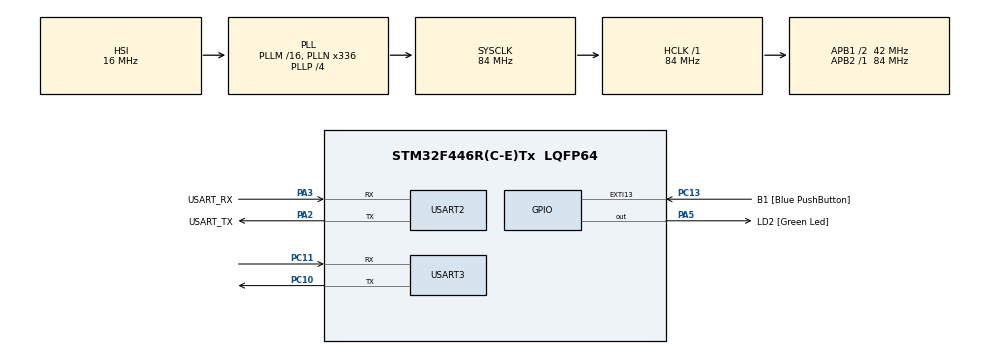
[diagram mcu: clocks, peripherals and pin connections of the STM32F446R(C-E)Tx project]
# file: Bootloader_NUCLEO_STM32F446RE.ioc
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Mcu.Family=STM32F4
Mcu.Name=STM32F446R(C-E)Tx
Mcu.Package=LQFP64
NVIC.PriorityGroup=NVIC_PRIORITYGROUP_0
PA13.GPIO_Label=TMS
PA13.Mode=Serial_Wire
PA13.Signal=SYS_JTMS-SWDIO
PA14.GPIO_Label=TCK
PA14.Mode=Serial_Wire
PA14.Signal=SYS_JTCK-SWCLK
PA2.GPIO_Label=USART_TX
PA2.Mode=Asynchronous
PA2.Signal=USART2_TX
PA3.GPIO_Label=USART_RX
PA3.Mode=Asynchronous
PA3.Signal=USART2_RX
PA5.GPIO_Label=LD2 [Green Led]
PA5.Signal=GPIO_Output
PB3.GPIO_Label=SWO
PB3.Signal=SYS_JTDO-SWO
PC10.Mode=Asynchronous
PC10.Signal=USART3_TX
PC11.Mode=Asynchronous
PC11.Signal=USART3_RX
PC13.GPIO_Label=B1 [Blue PushButton]
PC13.GPIO_ModeDefaultEXTI=GPIO_MODE_IT_FALLING
PC13.Signal=GPXTI13
PC14-OSC32_IN.Mode=LSE-External-Oscillator
PC14-OSC32_IN.Signal=RCC_OSC32_IN
PC15-OSC32_OUT.Mode=LSE-External-Oscillator
PC15-OSC32_OUT.Signal=RCC_OSC32_OUT
PH0-OSC_IN.Mode=HSE-External-Oscillator
PH0-OSC_IN.Signal=RCC_OSC_IN
PH1-OSC_OUT.Mode=HSE-External-Oscillator
PH1-OSC_OUT.Signal=RCC_OSC_OUT
ProjectManager.HeapSize=0x200
ProjectManager.StackSize=0x400
ProjectManager.TargetToolchain=MDK-ARM V5.32
RCC.48MHZClocksFreq_Value=84000000
RCC.AHBFreq_Value=84000000
RCC.APB1CLKDivider=RCC_HCLK_DIV2
RCC.APB1Freq_Value=42000000
RCC.APB1TimFreq_Value=84000000
RCC.APB2Freq_Value=84000000
RCC.APB2TimFreq_Value=84000000
RCC.CortexFreq_Value=84000000
RCC.FLatency-AdvancedSettings=FLASH_LATENCY_2
RCC.HCLKFreq_Value=84000000
RCC.HSE_VALUE=8000000
RCC.HSI_VALUE=16000000
RCC.PLLN=336
RCC.PLLP=RCC_PLLP_DIV4
RCC.SYSCLKFreq_VALUE=84000000
RCC.SYSCLKSource=RCC_SYSCLKSOURCE_PLLCLK
RCC.USBFreq_Value=168000000
RCC.VCOOutputFreq_Value=336000000
USART2.VirtualMode=VM_ASYNC
USART3.VirtualMode=VM_ASYNC
VP_CRC_VS_CRC.Mode=CRC_Activate
board=NUCLEO-F446RE

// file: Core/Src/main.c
/* USER CODE BEGIN Header */
/**
  ******************************************************************************
  * @file           : main.c
  * @brief          : Main program body
  ******************************************************************************
  * @attention
  *
  * Copyright (c) 2022 STMicroelectronics.
  * All rights reserved.
  *
  * This software is licensed under terms that can be found in the LICENSE file
  * in the root directory of this software component.
  * If no LICENSE file comes with this software, it is provided AS-IS.
  *
  ******************************************************************************
  */
/* USER CODE END Header */
#include <stdio.h>
#include <string.h>
#include <stdarg.h>
#include "main.h"

/* USER CODE BEGIN PTD */
 static void printmsg(char *format,...);
/* USER CODE END PTD */

/* USER CODE BEGIN PD */
#define BL_DEBUG_MSG_EN
/* USER CODE END PD */

/* USER CODE BEGIN PM */
#define D_UART   &huart3
#define C_UART   &huart2
/* USER CODE END PM */

CRC_HandleTypeDef hcrc;

UART_HandleTypeDef huart2;
UART_HandleTypeDef huart3;

void SystemClock_Config(void);
static void MX_GPIO_Init(void);
static void MX_USART2_UART_Init(void);
static void MX_USART3_UART_Init(void);
static void MX_CRC_Init(void);
/* USER CODE BEGIN PFP */
uint8_t supported_commands[] = {
		BL_GET_VER,
		BL_GET_HELP,
		BL_GET_CID,
		BL_GET_RDP_STATUS,
		BL_GO_TO_ADDR,
		BL_FLASH_ERASE,
		BL_MEM_WRITE,
		BL_READ_SECTOR_P_STATUS
};
/* USER CODE END PFP */

/* USER CODE BEGIN 0 */
#define BL_RX_LEN 200
uint8_t bl_rx_buffer[BL_RX_LEN];
/* USER CODE END 0 */

int main(void)
{

  /* MCU Configuration--------------------------------------------------------*/

  /* Reset of all peripherals, Initializes the Flash interface and the Systick. */
  HAL_Init();

  /* Configure the system clock */
  SystemClock_Config();

  /* Initialize all configured peripherals */
  MX_GPIO_Init();
  MX_USART2_UART_Init();
  MX_USART3_UART_Init();
  MX_CRC_Init();
  /* USER CODE BEGIN 2 */
	if(HAL_GPIO_ReadPin(B1_GPIO_Port,B1_Pin)==GPIO_PIN_RESET)
		bootloader_uart_read_data();
	else
		bootloader_jump_to_user_app();
  /* USER CODE END 2 */

  /* Infinite loop */
  /* USER CODE BEGIN WHILE */
  /* USER CODE END 3 */
}

void SystemClock_Config(void)
{
  RCC_OscInitTypeDef RCC_OscInitStruct = {0};
  RCC_ClkInitTypeDef RCC_ClkInitStruct = {0};

  /** Configure the main internal regulator output voltage
  */
  __HAL_RCC_PWR_CLK_ENABLE();
  __HAL_PWR_VOLTAGESCALING_CONFIG(PWR_REGULATOR_VOLTAGE_SCALE3);
  /** Initializes the RCC Oscillators according to the specified parameters
  * in the RCC_OscInitTypeDef structure.
  */
  RCC_OscInitStruct.OscillatorType = RCC_OSCILLATORTYPE_HSI;
  RCC_OscInitStruct.HSIState = RCC_HSI_ON;
  RCC_OscInitStruct.HSICalibrationValue = RCC_HSICALIBRATION_DEFAULT;
  RCC_OscInitStruct.PLL.PLLState = RCC_PLL_ON;
  RCC_OscInitStruct.PLL.PLLSource = RCC_PLLSOURCE_HSI;
  RCC_OscInitStruct.PLL.PLLM = 16;
  RCC_OscInitStruct.PLL.PLLN = 336;
  RCC_OscInitStruct.PLL.PLLP = RCC_PLLP_DIV4;
  RCC_OscInitStruct.PLL.PLLQ = 2;
  RCC_OscInitStruct.PLL.PLLR = 2;
  if (HAL_RCC_OscConfig(&RCC_OscInitStruct) != HAL_OK)
  {
    Error_Handler();
  }
  /** Initializes the CPU, AHB and APB buses clocks
  */
  RCC_ClkInitStruct.ClockType = RCC_CLOCKTYPE_HCLK|RCC_CLOCKTYPE_SYSCLK
                              |RCC_CLOCKTYPE_PCLK1|RCC_CLOCKTYPE_PCLK2;
  RCC_ClkInitStruct.SYSCLKSource = RCC_SYSCLKSOURCE_PLLCLK;
  RCC_ClkInitStruct.AHBCLKDivider = RCC_SYSCLK_DIV1;
  RCC_ClkInitStruct.APB1CLKDivider = RCC_HCLK_DIV2;
  RCC_ClkInitStruct.APB2CLKDivider = RCC_HCLK_DIV1;

  if (HAL_RCC_ClockConfig(&RCC_ClkInitStruct, FLASH_LATENCY_2) != HAL_OK)
  {
    Error_Handler();
  }
}

static void MX_CRC_Init(void)
{

  hcrc.Instance = CRC;
  if (HAL_CRC_Init(&hcrc) != HAL_OK)
  {
    Error_Handler();
  }

}

static void MX_USART2_UART_Init(void)
{

  huart2.Instance = USART2;
  huart2.Init.BaudRate = 115200;
  huart2.Init.WordLength = UART_WORDLENGTH_8B;
  huart2.Init.StopBits = UART_STOPBITS_1;
  huart2.Init.Parity = UART_PARITY_NONE;
  huart2.Init.Mode = UART_MODE_TX_RX;
  huart2.Init.HwFlowCtl = UART_HWCONTROL_NONE;
  huart2.Init.OverSampling = UART_OVERSAMPLING_16;
  if (HAL_UART_Init(&huart2) != HAL_OK)
  {
    Error_Handler();
  }

}

static void MX_USART3_UART_Init(void)
{

  huart3.Instance = USART3;
  huart3.Init.BaudRate = 115200;
  huart3.Init.WordLength = UART_WORDLENGTH_8B;
  huart3.Init.StopBits = UART_STOPBITS_1;
  huart3.Init.Parity = UART_PARITY_NONE;
  huart3.Init.Mode = UART_MODE_TX_RX;
  huart3.Init.HwFlowCtl = UART_HWCONTROL_NONE;
  huart3.Init.OverSampling = UART_OVERSAMPLING_16;
  if (HAL_UART_Init(&huart3) != HAL_OK)
  {
    Error_Handler();
  }

}

static void MX_GPIO_Init(void)
{
  GPIO_InitTypeDef GPIO_InitStruct = {0};

  /* GPIO Ports Clock Enable */
  __HAL_RCC_GPIOC_CLK_ENABLE();
  __HAL_RCC_GPIOH_CLK_ENABLE();
  __HAL_RCC_GPIOA_CLK_ENABLE();
  __HAL_RCC_GPIOB_CLK_ENABLE();

  /*Configure GPIO pin Output Level */
  HAL_GPIO_WritePin(LD2_GPIO_Port, LD2_Pin, GPIO_PIN_RESET);

  /*Configure GPIO pin : B1_Pin */
  GPIO_InitStruct.Pin = B1_Pin;
  GPIO_InitStruct.Mode = GPIO_MODE_IT_FALLING;
  GPIO_InitStruct.Pull = GPIO_NOPULL;
  HAL_GPIO_Init(B1_GPIO_Port, &GPIO_InitStruct);

  /*Configure GPIO pin : LD2_Pin */
  GPIO_InitStruct.Pin = LD2_Pin;
  GPIO_InitStruct.Mode = GPIO_MODE_OUTPUT_PP;
  GPIO_InitStruct.Pull = GPIO_NOPULL;
  GPIO_InitStruct.Speed = GPIO_SPEED_FREQ_LOW;
  HAL_GPIO_Init(LD2_GPIO_Port, &GPIO_InitStruct);

}

/* USER CODE BEGIN 4 */

void  bootloader_uart_read_data(void)
{
    uint8_t rcv_len=0;

	while(1)
	{
		memset(bl_rx_buffer,0,200);
		//here we will read and decode the commands coming from host
		//first read only one byte from the host , which is the "length" field of the command packet
    HAL_UART_Receive(C_UART,bl_rx_buffer,1,HAL_MAX_DELAY);
		rcv_len= bl_rx_buffer[0];
		HAL_UART_Receive(C_UART,&bl_rx_buffer[1],rcv_len,HAL_MAX_DELAY);
		switch(bl_rx_buffer[1])
		{
            case BL_GET_VER:
                bootloader_handle_getver_cmd(bl_rx_buffer);
                break;
            case BL_GET_HELP:
                bootloader_handle_gethelp_cmd(bl_rx_buffer);
                break;
            case BL_GET_CID:
                bootloader_handle_getcid_cmd(bl_rx_buffer);
                break;
            case BL_GET_RDP_STATUS:
                bootloader_handle_getrdp_cmd(bl_rx_buffer);
                break;
            case BL_GO_TO_ADDR:
                bootloader_handle_go_cmd(bl_rx_buffer);
                break;
            case BL_FLASH_ERASE:
                bootloader_handle_flash_erase_cmd(bl_rx_buffer);
                break;
            case BL_MEM_WRITE:
                bootloader_handle_mem_write_cmd(bl_rx_buffer);
                break;
            case BL_EN_RW_PROTECT:
                bootloader_handle_en_rw_protect(bl_rx_buffer);
                break;
            case BL_MEM_READ:
                bootloader_handle_mem_read(bl_rx_buffer);
                break;
            case BL_READ_SECTOR_P_STATUS:
                bootloader_handle_read_sector_protection_status(bl_rx_buffer);
                break;
            case BL_OTP_READ:
                bootloader_handle_read_otp(bl_rx_buffer);
                break;
						case BL_DIS_R_W_PROTECT:
                bootloader_handle_dis_rw_protect(bl_rx_buffer);
                break;
             default:
                printmsg("BL_DEBUG_MSG:Invalid command code received from host \n");
                break;
		}

	}

}

void bootloader_jump_to_user_app(void)
{
	void (*app_reset_handler) (void);

	//configure MSP(main stack pointer) by reading the value from the base address of sector 2
	uint32_t msp_value = *(volatile uint32_t *) FLASH_SECTOR2_BASE_ADDRESS;

	//set MSP pointer to the value
	__set_MSP(msp_value);

	//SCB->VTOR = FLASH_SECTOR2_BASE_ADDRESS
	uint32_t resethandler_address = *(volatile uint32_t *) (FLASH_SECTOR2_BASE_ADDRESS+4);

	app_reset_handler = (void *) resethandler_address;

	//jump to the reset handler address.
	app_reset_handler();

}

//bootloader functions

void bootloader_send_ack(uint8_t command_code, uint8_t follow_len)
{
	//here we send 2 bytes.. first byte is ack and second byte is len
	uint8_t ack_buf[2];
	ack_buf[0] = BL_ACK;
	ack_buf[1] = follow_len;

	HAL_UART_Transmit(&huart2, ack_buf, 2, HAL_MAX_DELAY);

}

void bootloader_send_nack(void)
{
	uint8_t nack = BL_NACK;
	HAL_UART_Transmit(&huart2, &nack, 1, HAL_MAX_DELAY);
}

//this verifies CRC of given buffer in pData
uint8_t bootloader_verify_crc (uint8_t *pData, uint32_t len, uint32_t crc_host)
{
	CRC->CR |= 1;
	uint32_t uwCRCValue = 0xff;

	for (uint32_t i = 0; i < len; i++)
	{
		uint32_t i_data = pData[i];
		uwCRCValue = HAL_CRC_Accumulate(&hcrc, &i_data,1);
	}

	if(uwCRCValue == crc_host)
		return VERIFY_CRC_SUCCESS;

	else
		return VERIFY_CRC_FAIL;
}

//Implementation of bootloader handle functions

void bootloader_handle_getver_cmd(uint8_t *bl_rx_buffer)
{
    uint8_t bl_version;

    // 1) verify the checksum
    printmsg("BL_DEBUG_MSG:bootloader_handle_getver_cmd\n");

	 //Total length of the command packet
	  uint32_t command_packet_len = bl_rx_buffer[0]+1 ;

	  //extract the CRC32 sent by the Host
	  uint32_t host_crc = *((uint32_t * ) (bl_rx_buffer+command_packet_len - 4) ) ;

    if (! bootloader_verify_crc(&bl_rx_buffer[0],command_packet_len-4,host_crc))
    {
        printmsg("BL_DEBUG_MSG:checksum success !!\n");
        // checksum is correct..
        bootloader_send_ack(bl_rx_buffer[0],1);
        bl_version=get_bootloader_version();
        printmsg("BL_DEBUG_MSG:BL_VER : %d %#x\n",bl_version,bl_version);
        bootloader_uart_write_data(&bl_version,1);

    }else
    {
        printmsg("BL_DEBUG_MSG:checksum fail !!\n");
        //checksum is wrong send nack
        bootloader_send_nack();
    }

}

void bootloader_handle_gethelp_cmd(uint8_t *pBuffer)
{
	// 1) verify the checksum
    printmsg("BL_DEBUG_MSG:bootloader_handle_gethelp_cmd\n");

	 //Total length of the command packet
	  uint32_t command_packet_len = (uint8_t)pBuffer[0]+1 ;

	  //extract the CRC32 sent by the Host
	  uint32_t host_crc = *((uint32_t * ) (pBuffer+command_packet_len - 4) ) ;

	if (! bootloader_verify_crc(&pBuffer[0],command_packet_len-4,host_crc))
    {
        printmsg("BL_DEBUG_MSG:checksum success !!\n");
        // checksum is correct..
        bootloader_send_ack(pBuffer[0],sizeof(supported_commands));
        bootloader_uart_write_data(supported_commands,sizeof(supported_commands));

    }else
    {
        printmsg("BL_DEBUG_MSG:checksum fail !!\n");
        //checksum is wrong send nack
        bootloader_send_nack();
    }

}

uint16_t get_mcu_chip_id(void)
{
	uint16_t cid;
	cid = (uint16_t)(DBGMCU->IDCODE) & 0x0FFF;
	return cid;

}

void bootloader_handle_getcid_cmd(uint8_t *pBuffer)
{

	uint16_t bl_cid_num = 0;
	// 1) verify the checksum
    printmsg("BL_DEBUG_MSG:bootloader_handle_getcid_cmd\n");

	 //Total length of the command packet
	  uint32_t command_packet_len = (uint8_t)pBuffer[0]+1 ;

	  //extract the CRC32 sent by the Host
	  uint32_t host_crc = *((uint32_t * ) (pBuffer+command_packet_len - 4) ) ;

	if (! bootloader_verify_crc(&pBuffer[0],command_packet_len-4,host_crc))
    {
        printmsg("BL_DEBUG_MSG:checksum success !!\n");
        // checksum is correct..
        bootloader_send_ack(pBuffer[0],2);
				bl_cid_num = get_mcu_chip_id();
				printmsg("BL_DEBUG_MSG: MCU id: %d %#x !!\n", bl_cid_num, bl_cid_num);
        bootloader_uart_write_data((uint8_t *)&bl_cid_num,2);

    }else
    {
        printmsg("BL_DEBUG_MSG:checksum fail !!\n");
        //checksum is wrong send nack
        bootloader_send_nack();
    }
}

void bootloader_handle_getrdp_cmd(uint8_t *pBuffer)
{
		uint8_t rdp_level = 0;
	// 1) verify the checksum
    printmsg("BL_DEBUG_MSG:bootloader_handle_getrdp_cmd\n");

	 //Total length of the command packet
	  uint32_t command_packet_len = (uint8_t)pBuffer[0]+1 ;

	  //extract the CRC32 sent by the Host
	  uint32_t host_crc = *((uint32_t * ) (pBuffer+command_packet_len - 4) ) ;

	if (! bootloader_verify_crc(&pBuffer[0],command_packet_len-4,host_crc))
    {
        printmsg("BL_DEBUG_MSG:checksum success !!\n");
        // checksum is correct..
        bootloader_send_ack(pBuffer[0],1);
				rdp_level = get_flash_rdp_level();
				printmsg("BL_DEBUG_MSG: RDP is: %d %#x !!\n", rdp_level, rdp_level);
        bootloader_uart_write_data(&rdp_level,1);

    }else
    {
        printmsg("BL_DEBUG_MSG:checksum fail !!\n");
        //checksum is wrong send nack
        bootloader_send_nack();
    }

}

void bootloader_handle_go_cmd(uint8_t *pBuffer)
{
	uint32_t go_address=0;
	uint8_t addr_valid = ADDR_VALID;
	uint8_t addr_invalid = ADDR_INVALID;

  printmsg("BL_DEBUG_MSG:bootloader_handle_go_cmd\n");

   //Total length of the command packet
	uint32_t command_packet_len = pBuffer[0]+1 ;

	//extract the CRC32 sent by the Host
	uint32_t host_crc = *((uint32_t * ) (pBuffer+command_packet_len - 4) ) ;

	if (! bootloader_verify_crc(&pBuffer[0],command_packet_len-4,host_crc))
	{
        printmsg("BL_DEBUG_MSG:checksum success !!\n");

        bootloader_send_ack(pBuffer[0],1);

        //extract the go address
        go_address = *((uint32_t *)&pBuffer[2] );
        printmsg("BL_DEBUG_MSG:GO addr: %#x\n",go_address);

        if( verify_address(go_address) == ADDR_VALID )
        {
            //tell host that address is fine
            bootloader_uart_write_data(&addr_valid,1);

            /*jump to "go" address.
            we dont care what is being done there.
            host must ensure that valid code is present over there
            Its not the duty of bootloader. so just trust and jump */

            /* Not doing the below line will result in hardfault exception for ARM cortex M */
            //watch : https://www.youtube.com/watch?v=VX_12SjnNhY

            go_address+=1; //make T bit =1

            void (*lets_jump)(void) = (void *)go_address;

            printmsg("BL_DEBUG_MSG: jumping to go address! \n");

            lets_jump();

		}else
		{
            printmsg("BL_DEBUG_MSG:GO addr invalid ! \n");
            //tell host that address is invalid
            bootloader_uart_write_data(&addr_invalid,1);
		}

	}else
	{
        printmsg("BL_DEBUG_MSG:checksum fail !!\n");
        bootloader_send_nack();
	}

}

void bootloader_handle_flash_erase_cmd(uint8_t *pBuffer)
{

	uint8_t erase_status = 0x00;
	// 1) verify the checksum
    printmsg("BL_DEBUG_MSG:bootloader_handle_flash_erase_cmd\n");

	 //Total length of the command packet
	  uint32_t command_packet_len = (uint8_t)pBuffer[0]+1 ;

	  //extract the CRC32 sent by the Host
	  uint32_t host_crc = *((uint32_t * ) (pBuffer+command_packet_len - 4) ) ;

		if (! bootloader_verify_crc(&pBuffer[0],command_packet_len-4,host_crc))
    {
        printmsg("BL_DEBUG_MSG:checksum success !!\n");
        // checksum is correct..
        bootloader_send_ack(pBuffer[0],1);

				HAL_GPIO_WritePin(LD2_GPIO_Port,LD2_Pin,GPIO_PIN_SET);
				erase_status = execute_flash_erase(pBuffer[2], pBuffer[3]);
				HAL_GPIO_WritePin(LD2_GPIO_Port,LD2_Pin,GPIO_PIN_RESET);

				printmsg("BL_DEBUG_MSG:flash erase status %#x\n", erase_status);
				bootloader_uart_write_data(&erase_status,1);

    }else
    {
        printmsg("BL_DEBUG_MSG:checksum fail !!\n");
        //checksum is wrong send nack
        bootloader_send_nack();
    }
}

void bootloader_handle_mem_write_cmd(uint8_t *pBuffer)
{

	uint8_t write_status = 0x00;
	uint8_t payload_len = pBuffer[6];

	uint32_t mem_address = *((uint32_t *) (&pBuffer[2]));
	// 1) verify the checksum
  printmsg("BL_DEBUG_MSG:bootloader_handle_mem_write_cmd\n");

	//Total length of the command packet
	uint32_t command_packet_len = (uint8_t)pBuffer[0]+1 ;

	//extract the CRC32 sent by the Host
	uint32_t host_crc = *((uint32_t * ) (pBuffer+command_packet_len - 4) ) ;

	if (! bootloader_verify_crc(&pBuffer[0],command_packet_len-4,host_crc))
  {
		printmsg("BL_DEBUG_MSG:checksum success !!\n");
		// checksum is correct..
		bootloader_send_ack(pBuffer[0],1);
		printmsg("BL_DEBUG_MSG:mem write address: %#x\n !!\n", mem_address);

		//glow led to indicate bootloader writing process
		HAL_GPIO_WritePin(LD2_GPIO_Port,LD2_Pin,GPIO_PIN_SET);

		//execute mem write
		write_status = execute_mem_write(&pBuffer[7], mem_address, payload_len);

		//turn off led to indicate memory write is over.
		HAL_GPIO_WritePin(LD2_GPIO_Port,LD2_Pin,GPIO_PIN_RESET);

		//inform host about write status
		bootloader_uart_write_data(&write_status,1);

  }else
  {
		printmsg("BL_DEBUG_MSG:checksum fail !!\n");
		//checksum is wrong send nack
		bootloader_send_nack();
  }

}

void bootloader_handle_en_rw_protect(uint8_t *pBuffer)
{
	uint8_t status = 0x00;
	// 1) verify the checksum
  printmsg("BL_DEBUG_MSG:bootloader_handle_en_rw_cmd\n");

	//Total length of the command packet
	uint32_t command_packet_len = (uint8_t)pBuffer[0]+1 ;

	//extract the CRC32 sent by the Host
	uint32_t host_crc = *((uint32_t * ) (pBuffer+command_packet_len - 4) ) ;

	if (! bootloader_verify_crc(&pBuffer[0],command_packet_len-4,host_crc))
  {
		printmsg("BL_DEBUG_MSG:checksum success !!\n");
		// checksum is correct..
		bootloader_send_ack(pBuffer[0],1);

		status = configure_flash_sector_rw_protection(pBuffer[2], pBuffer[3], 0);

		printmsg("BL_DEBUG_MSG: flash erase status: %#x\n",status);

    bootloader_uart_write_data(&status,1);
	}
	else
	{
		printmsg("BL_DEBUG_MSG:checksum fail !!\n");
    bootloader_send_nack();
	}
}

void bootloader_handle_mem_read (uint8_t *pBuffer)
{

}

void bootloader_handle_read_sector_protection_status(uint8_t *pBuffer)
{
	uint16_t status = 0x0000;
  printmsg("BL_DEBUG_MSG:bootloader_handle_read_sector_protection_status\n");

    //Total length of the command packet
	uint32_t command_packet_len = bl_rx_buffer[0]+1 ;

	//extract the CRC32 sent by the Host
	uint32_t host_crc = *((uint32_t * ) (bl_rx_buffer+command_packet_len - 4) ) ;

	if (! bootloader_verify_crc(&bl_rx_buffer[0],command_packet_len-4,host_crc))
	{
        printmsg("BL_DEBUG_MSG:checksum success !!\n");
        bootloader_send_ack(pBuffer[0],2);

        status = read_status_sectors_protection();

        printmsg("BL_DEBUG_MSG: flash erase status: %#x\n",status);

        bootloader_uart_write_data((uint8_t *)&status,2);

	}else
	{
        printmsg("BL_DEBUG_MSG:checksum fail !!\n");
        bootloader_send_nack();
	}
}

void bootloader_handle_read_otp(uint8_t *pBuffer)
{

}

void bootloader_handle_dis_rw_protect(uint8_t *pBuffer)
{
	uint8_t status = 0x00;
  printmsg("BL_DEBUG_MSG:bootloader_handle_dis_rw_protect\n");

    //Total length of the command packet
	uint32_t command_packet_len = bl_rx_buffer[0]+1 ;

	//extract the CRC32 sent by the Host
	uint32_t host_crc = *((uint32_t * ) (bl_rx_buffer+command_packet_len - 4) ) ;

	if (! bootloader_verify_crc(&bl_rx_buffer[0],command_packet_len-4,host_crc))
	{
        printmsg("BL_DEBUG_MSG:checksum success !!\n");
        bootloader_send_ack(pBuffer[0],1);

        status = configure_flash_sector_rw_protection(0,0,1);

        printmsg("BL_DEBUG_MSG: flash erase status: %#x\n",status);

        bootloader_uart_write_data(&status,1);

	}else
	{
        printmsg("BL_DEBUG_MSG:checksum fail !!\n");
        bootloader_send_nack();
	}

}

uint16_t read_status_sectors_protection(void)
{

	uint16_t sector_protection;
	//flash option control register
	volatile uint32_t *pOPTCR = (uint32_t *)0x40023C14;
	//first we unlock the flash option bytes to contorl the registers
	if(HAL_FLASH_OB_Unlock()!=HAL_OK)
		return HAL_ERROR;

	//wait till no active operation on flash
	while(__HAL_FLASH_GET_FLAG(FLASH_FLAG_BSY) != RESET);

	//read out protection data

	sector_protection = (uint32_t) (*pOPTCR>>16);

	//wait for the BSY bit to be cleared
	while(__HAL_FLASH_GET_FLAG(FLASH_FLAG_BSY) != RESET);

	//Option byte configuration lock
	if(HAL_FLASH_OB_Lock()!=HAL_OK)
		return HAL_ERROR;

	return sector_protection;
}

/*
Modifying user option bytes
To modify the user option value, follow the sequence below:
1. Check that no Flash memory operation is ongoing by checking the BSY bit in the
FLASH_SR register
2. Write the desired option value in the FLASH_OPTCR register.
3. Set the option start bit (OPTSTRT) in the FLASH_OPTCR register
4. Wait for the BSY bit to be cleared.
*/
uint8_t configure_flash_sector_rw_protection(uint8_t sector_details, uint8_t protection_mode, uint8_t disable)
{
    //First configure the protection mode
    //protection_mode =1 , means write protect of the user flash sectors
    //protection_mode =2, means read/write protect of the user flash sectors
    //According to RM of stm32f446xx TABLE 9, We have to modify the address 0x1FFF C008 bit 15(SPRMOD)

	//flash option control register
	volatile uint32_t *pOPTCR = (uint32_t *)0x40023C14;

	if(disable)
		{
			//first we unlock the flash option bytes to contorl the registers
			if(HAL_FLASH_OB_Unlock()!=HAL_OK)
				return HAL_ERROR;

			//wait till no active operation on flash
			while(__HAL_FLASH_GET_FLAG(FLASH_FLAG_BSY) != RESET);

			//clear the 31st bit in OPTCR register
			*pOPTCR &= ~(1<<31);

			//set the protection on corresponding sectors
			*pOPTCR |= (0xFF << 16);

			//Set the option start bit (OPTSTRT) in the FLASH_OPTCR register
			*pOPTCR |= (1<<1);

			//wait for the BSY bit to be cleared
			while(__HAL_FLASH_GET_FLAG(FLASH_FLAG_BSY) != RESET);

			//Option byte configuration lock
			if(HAL_FLASH_OB_Lock()!=HAL_OK)
				return HAL_ERROR;
		}

	if(protection_mode == 1)
    {
      //we are putting write protection on the sectors encoded in sector_details argument

			//Option byte configuration unlock
			if(HAL_FLASH_OB_Unlock()!=HAL_OK)
				return HAL_ERROR;

			//wait till no active operation on flash
			while(__HAL_FLASH_GET_FLAG(FLASH_FLAG_BSY) != RESET);

			//clear the 31st bit in OPTCR register
			*pOPTCR &= ~(1<<31);

			//set the protection on corresponding sectors
			*pOPTCR &= ~(sector_details << 16);

			//Set the option start bit (OPTSTRT) in the FLASH_OPTCR register
			*pOPTCR |= (1<<1);

			//wait for the BSY bit to be cleared
			while(__HAL_FLASH_GET_FLAG(FLASH_FLAG_BSY) != RESET);

			//Option byte configuration lock
			if(HAL_FLASH_OB_Lock()!=HAL_OK)
				return HAL_ERROR;
		}

	else if(protection_mode == 2)
	{
			//we are putting write protection on the sectors encoded in sector_details argument

			//Option byte configuration unlock
			if(HAL_FLASH_OB_Unlock()!=HAL_OK)
				return HAL_ERROR;

			//wait till no active operation on flash
			while(__HAL_FLASH_GET_FLAG(FLASH_FLAG_BSY) != RESET);

			//clear the 31st bit in OPTCR register
			*pOPTCR |= (1<<31);

			//set the protection on corresponding sectors
			*pOPTCR &= ~(0xFF << 16);
			*pOPTCR |= (sector_details << 16);

			//Set the option start bit (OPTSTRT) in the FLASH_OPTCR register
			*pOPTCR |= (1<<1);

			//wait for the BSY bit to be cleared
			while(__HAL_FLASH_GET_FLAG(FLASH_FLAG_BSY) != RESET);

			//Option byte configuration lock
			if(HAL_FLASH_OB_Lock()!=HAL_OK)
				return HAL_ERROR;
		}
	return 0;
}

//this function writes contents of pBuffer to mem_address byte by byte
//NOTE: this function doesn't check whether mem_address is valid address or not
uint8_t execute_mem_write(uint8_t *pBuffer, uint32_t mem_address, uint32_t len)
{
	HAL_StatusTypeDef status = HAL_ERROR;

	//first we unlock the flash module to contorl the registers
	if(HAL_FLASH_Unlock()!=HAL_OK)
		return HAL_ERROR;

	//start writing
	for(uint32_t i=0; i < len; i++){
		//using HAL API we program flash byte by byte
		status = HAL_FLASH_Program(FLASH_TYPEPROGRAM_BYTE, mem_address+i, pBuffer[i]);
	}

	if(HAL_FLASH_Lock()!=HAL_OK)
		return HAL_ERROR;

	return status;
}

uint8_t execute_flash_erase(uint8_t sector_number, uint8_t number_of_sector)
{
	//we have total 8sectors on stm32f446re [0 to 7]
	//number_of_sector has to be in range 0 to 7
	//if sector_number = 0xff, -> mass erase
	FLASH_EraseInitTypeDef flashErase_handle;
	uint32_t sectorError;
	HAL_StatusTypeDef status;

	if(number_of_sector>8)
		return INVALID_SECTOR;

	if((sector_number == 0xFF) || (sector_number <=7))
	{
		if(sector_number == (uint8_t) 0xFF)
		{
			flashErase_handle.TypeErase = FLASH_TYPEERASE_MASSERASE;
		}
		else
		{
			//here just calculate how many sectors to erase
			uint8_t remaining_sector = 8 - sector_number;
			if(number_of_sector > remaining_sector)
			{
					number_of_sector = remaining_sector;
			}
			flashErase_handle.TypeErase = FLASH_TYPEERASE_SECTORS;
			flashErase_handle.Sector = sector_number; //this is initial sector
			flashErase_handle.NbSectors = number_of_sector;
		}
		flashErase_handle.Banks = FLASH_BANK_1;

		//get access to touch the flash registers
		HAL_FLASH_Unlock();
		flashErase_handle.VoltageRange = FLASH_VOLTAGE_RANGE_3;
		status = HAL_FLASHEx_Erase(&flashErase_handle, &sectorError);
		HAL_FLASH_Lock();

		return status;
	}

	return INVALID_SECTOR;
}

void bootloader_uart_write_data(uint8_t *pBuffer, uint32_t len)
{
	HAL_UART_Transmit(C_UART,pBuffer,len,HAL_MAX_DELAY);
}

uint8_t get_bootloader_version(void){
	return (uint8_t)BL_VERSION;
}

uint8_t get_flash_rdp_level(void)
{
	uint8_t rdp_status=0;
	#if 0
	FLASH_OBProgramInitTypeDef ob_handle;
	HAL_FLASHEx_OBGetConfig(&ob_handle);
	rdp_status = (uint8_t) ob_handle.RDPLevel;
	#else

	volatile uint32_t *pOB_addr = (uint32_t*) 0x1FFFC000;
	rdp_status=(uint8_t)(*pOB_addr>>8);
	#endif

	return rdp_status;

}

//verify the address sent by the host .
uint8_t verify_address(uint32_t go_address)
{
	//so, what are the valid addresses to which we can jump ?
	//can we jump to system memory ? yes
	//can we jump to sram1 memory ?  yes
	//can we jump to sram2 memory ? yes
	//can we jump to backup sram memory ? yes
	//can we jump to peripheral memory ? its possible , but dont allow. so no
	//can we jump to external memory ? yes.

	if ( go_address >= SRAM1_BASE && go_address < SRAM1_END)
	{
		return ADDR_VALID;
	}
	else if ( go_address >= SRAM2_BASE && go_address < SRAM2_END)
	{
		return ADDR_VALID;
	}
	else if ( go_address >= FLASH_BASE && go_address < FLASH_END)
	{
		return ADDR_VALID;
	}
	else if ( go_address >= BKPSRAM_BASE && go_address < BKPSRAM_END)
	{
		return ADDR_VALID;
	}
	else
		return ADDR_INVALID;
}
/* prints formatted string to console over UART */
 void printmsg(char *format,...)
 {
#ifdef BL_DEBUG_MSG_EN
	char str[80];

	/*Extract the the argument list using VA apis */
	va_list args;
	va_start(args, format);
	vsprintf(str, format,args);
	HAL_UART_Transmit(D_UART,(uint8_t *)str, strlen(str),HAL_MAX_DELAY);
	va_end(args);
#endif
 }
/* USER CODE END 4 */

void Error_Handler(void)
{
  __disable_irq();
  while (1)
  {
  }
}
